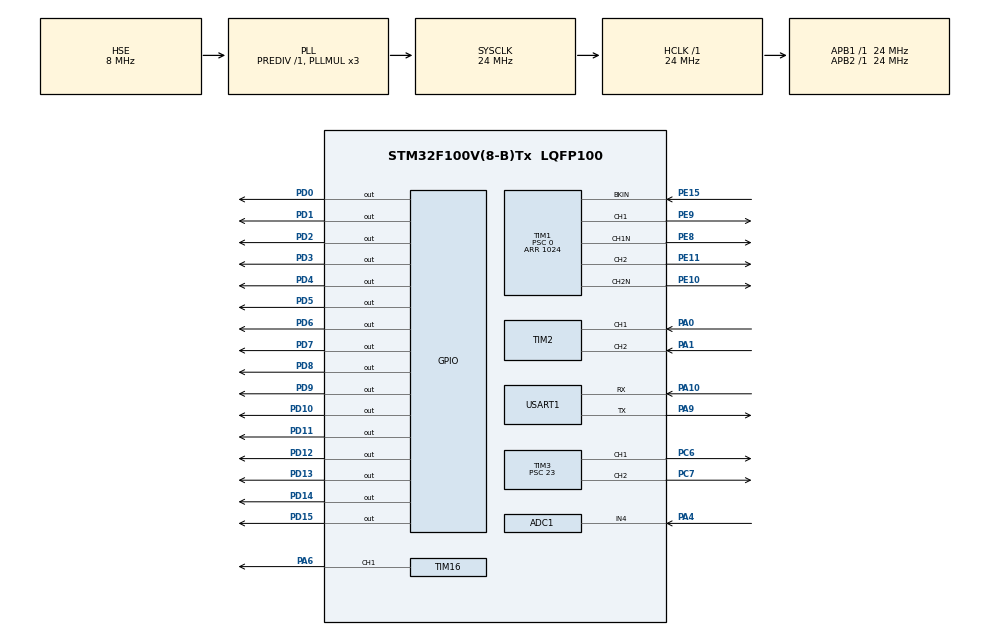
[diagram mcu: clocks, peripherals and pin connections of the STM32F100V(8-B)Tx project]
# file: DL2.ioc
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ADC1.Channel-0\#ChannelRegularConversion=ADC_CHANNEL_4
ADC1.NbrOfConversionFlag=1
ADC1.Rank-0\#ChannelRegularConversion=1
ADC1.SamplingTime-0\#ChannelRegularConversion=ADC_SAMPLETIME_1CYCLE_5
ADC1.master=1
Mcu.Family=STM32F1
Mcu.Name=STM32F100V(8-B)Tx
Mcu.Package=LQFP100
NVIC.PriorityGroup=NVIC_PRIORITYGROUP_4
NVIC.TIM6_DAC_IRQn=true\:0\:0\:false\:false\:true\:true\:true\:true
NVIC.USART1_IRQn=true\:0\:0\:false\:false\:true\:true\:true\:true
OSC_IN.Mode=HSE-External-Oscillator
OSC_IN.Signal=RCC_OSC_IN
OSC_OUT.Mode=HSE-External-Oscillator
OSC_OUT.Signal=RCC_OSC_OUT
PA0-WKUP.Signal=S_TIM2_CH1_ETR
PA1.Signal=S_TIM2_CH2
PA10.Mode=Asynchronous
PA10.Signal=USART1_RX
PA13.Mode=Serial_Wire
PA13.Signal=SYS_JTMS-SWDIO
PA14.Mode=Serial_Wire
PA14.Signal=SYS_JTCK-SWCLK
PA4.Signal=ADCx_IN4
PA6.Signal=S_TIM16_CH1
PA9.Mode=Asynchronous
PA9.Signal=USART1_TX
PC6.Signal=S_TIM3_CH1
PC7.Signal=S_TIM3_CH2
PD0.Signal=GPIO_Output
PD1.Signal=GPIO_Output
PD10.Signal=GPIO_Output
PD11.Signal=GPIO_Output
PD12.Signal=GPIO_Output
PD13.Signal=GPIO_Output
PD14.Signal=GPIO_Output
PD15.Signal=GPIO_Output
PD2.Signal=GPIO_Output
PD3.Signal=GPIO_Output
PD4.Signal=GPIO_Output
PD5.Signal=GPIO_Output
PD6.Signal=GPIO_Output
PD7.Signal=GPIO_Output
PD8.Signal=GPIO_Output
PD9.Signal=GPIO_Output
PE10.Mode=PWM Generation2 CH2 CH2N
PE10.Signal=TIM1_CH2N
PE11.Signal=S_TIM1_CH2
PE15.Mode=Activate-Break-Input
PE15.Signal=TIM1_BKIN
PE8.Mode=PWM Generation1 CH1 CH1N
PE8.Signal=TIM1_CH1N
PE9.Signal=S_TIM1_CH1
ProjectManager.HeapSize=0x200
ProjectManager.StackSize=0x400
ProjectManager.TargetToolchain=MDK-ARM V5.32
RCC.AHBFreq_Value=24000000
RCC.APB1Freq_Value=24000000
RCC.APB1TimFreq_Value=24000000
RCC.APB2Freq_Value=24000000
RCC.APB2TimFreq_Value=24000000
RCC.HCLKFreq_Value=24000000
RCC.PLLMUL=RCC_PLL_MUL3
RCC.PLLSource=RCC_PLLSOURCE_HSE
RCC.SYSCLKFreq_VALUE=24000000
RCC.SYSCLKSource=RCC_SYSCLKSOURCE_PLLCLK
SH.ADCx_IN4.0=ADC1_IN4,IN4
SH.S_TIM16_CH1.0=TIM16_CH1,PWM Generation1 CH1
SH.S_TIM1_CH1.0=TIM1_CH1,PWM Generation1 CH1 CH1N
SH.S_TIM1_CH2.0=TIM1_CH2,PWM Generation2 CH2 CH2N
SH.S_TIM2_CH1_ETR.0=TIM2_CH1,Encoder_Interface
SH.S_TIM2_CH2.0=TIM2_CH2,Encoder_Interface
SH.S_TIM3_CH1.0=TIM3_CH1,PWM Generation1 CH1
SH.S_TIM3_CH2.0=TIM3_CH2,PWM Generation2 CH2
TIM1.AutomaticOutput=TIM_AUTOMATICOUTPUT_ENABLE
TIM1.Channel-PWM\ Generation1\ CH1\ CH1N=TIM_CHANNEL_1
TIM1.Channel-PWM\ Generation2\ CH2\ CH2N=TIM_CHANNEL_2
TIM1.DeadTime=14
TIM1.OCMode_PWM-PWM\ Generation1\ CH1\ CH1N=TIM_OCMODE_PWM2
TIM1.OCMode_PWM-PWM\ Generation2\ CH2\ CH2N=TIM_OCMODE_PWM1
TIM1.OCNPolarity_2=TIM_OCNPOLARITY_LOW
TIM1.OCPolarity_2=TIM_OCPOLARITY_LOW
TIM1.Period=1024
TIM1.Prescaler=0
TIM16.Channel=TIM_CHANNEL_1
TIM16.Period=249
TIM16.Prescaler=23
TIM16.Pulse=125
TIM3.Channel-PWM\ Generation1\ CH1=TIM_CHANNEL_1
TIM3.Channel-PWM\ Generation2\ CH2=TIM_CHANNEL_2
TIM3.Period=19999
TIM3.Prescaler=23
TIM6.Period=999
TIM6.Prescaler=23
USART1.VirtualMode=VM_ASYNC
VP_TIM16_VS_ClockSourceINT.Mode=Enable_Timer
VP_TIM6_VS_ClockSourceINT.Mode=Enable_Timer
board=custom

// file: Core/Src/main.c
/* USER CODE BEGIN Header */
/**
  ******************************************************************************
  * @file           : main.c
  * @brief          : Main program body
  ******************************************************************************
  * @attention
  *
  * Copyright (c) 2026 STMicroelectronics.
  * All rights reserved.
  *
  * This software is licensed under terms that can be found in the LICENSE file
  * in the root directory of this software component.
  * If no LICENSE file comes with this software, it is provided AS-IS.
  *
  ******************************************************************************
  */
/* USER CODE END Header */
#include "main.h"
#include "adc.h"
#include "tim.h"
#include "usart.h"
#include "gpio.h"

void SystemClock_Config(void);

int main(void)

{

  /* MCU Configuration--------------------------------------------------------*/

  /* Reset of all peripherals, Initializes the Flash interface and the Systick. */
  HAL_Init();

  /* Configure the system clock */
  SystemClock_Config();

  /* Initialize all configured peripherals */
  MX_GPIO_Init();
  MX_TIM1_Init();
  MX_TIM2_Init();
  MX_TIM3_Init();
  MX_TIM16_Init();
  MX_USART1_UART_Init();
  MX_TIM6_Init();
  MX_ADC1_Init();
  /* USER CODE BEGIN 2 */
HAL_GPIO_WritePin(GPIOD,GPIO_PIN_15,0);
HAL_TIM_PWM_Start(&htim16,TIM_CHANNEL_1);//Init buzzer
HAL_TIM_PWM_Start(&htim1,TIM_CHANNEL_1);//Init Motor Control timer
HAL_TIM_PWM_Start(&htim1,TIM_CHANNEL_2);
TIM_CCxChannelCmd(TIM1,TIM_CHANNEL_1,TIM_CCx_ENABLE|TIM_CCxN_ENABLE);
TIM_CCxChannelCmd(TIM1,TIM_CHANNEL_2,TIM_CCx_ENABLE|TIM_CCxN_ENABLE);
__HAL_TIM_SET_COMPARE(&htim1,TIM_CHANNEL_1,1000);
__HAL_TIM_SET_COMPARE(&htim1,TIM_CHANNEL_2,1000);
HAL_TIM_PWM_Start(&htim3,TIM_CHANNEL_1);//Servo 1
HAL_TIM_PWM_Start(&htim3,TIM_CHANNEL_2);//Servo 2
__HAL_TIM_SET_COMPARE(&htim3,TIM_CHANNEL_1,1000);
__HAL_TIM_SET_COMPARE(&htim3,TIM_CHANNEL_2,1000);
__HAL_TIM_SET_COMPARE(&htim16,TIM_CHANNEL_1,0);
HAL_GPIO_WritePin(GPIOD,GPIO_PIN_15,1);
HAL_TIM_Encoder_Start(&htim2,TIM_CHANNEL_1|TIM_CHANNEL_2);
HAL_TIM_Base_Start_IT(&htim6);
Serial_RxStart();
  /* USER CODE END 2 */

  /* Infinite loop */
  while (1)
  {

    /* USER CODE BEGIN 3 */
	/*	HAL_GPIO_WritePin(GPIOD,GPIO_PIN_8,1);
		HAL_GPIO_WritePin(GPIOD,GPIO_PIN_9,1);
		HAL_GPIO_WritePin(GPIOD,GPIO_PIN_10,1);
		HAL_GPIO_WritePin(GPIOD,GPIO_PIN_11,1);
		HAL_GPIO_WritePin(GPIOD,GPIO_PIN_12,1);
		HAL_GPIO_WritePin(GPIOD,GPIO_PIN_13,1);
		HAL_GPIO_WritePin(GPIOD,GPIO_PIN_14,1);
		HAL_GPIO_WritePin(GPIOD,GPIO_PIN_14,1);*/
  }
  /* USER CODE END 3 */
}

void SystemClock_Config(void)
{
  RCC_OscInitTypeDef RCC_OscInitStruct = {0};
  RCC_ClkInitTypeDef RCC_ClkInitStruct = {0};
  RCC_PeriphCLKInitTypeDef PeriphClkInit = {0};

  /** Initializes the RCC Oscillators according to the specified parameters
  * in the RCC_OscInitTypeDef structure.
  */
  RCC_OscInitStruct.OscillatorType = RCC_OSCILLATORTYPE_HSE;
  RCC_OscInitStruct.HSEState = RCC_HSE_ON;
  RCC_OscInitStruct.HSEPredivValue = RCC_HSE_PREDIV_DIV1;
  RCC_OscInitStruct.PLL.PLLState = RCC_PLL_ON;
  RCC_OscInitStruct.PLL.PLLSource = RCC_PLLSOURCE_HSE;
  RCC_OscInitStruct.PLL.PLLMUL = RCC_PLL_MUL3;
  if (HAL_RCC_OscConfig(&RCC_OscInitStruct) != HAL_OK)
  {
    Error_Handler();
  }

  /** Initializes the CPU, AHB and APB buses clocks
  */
  RCC_ClkInitStruct.ClockType = RCC_CLOCKTYPE_HCLK|RCC_CLOCKTYPE_SYSCLK
                              |RCC_CLOCKTYPE_PCLK1|RCC_CLOCKTYPE_PCLK2;
  RCC_ClkInitStruct.SYSCLKSource = RCC_SYSCLKSOURCE_PLLCLK;
  RCC_ClkInitStruct.AHBCLKDivider = RCC_SYSCLK_DIV1;
  RCC_ClkInitStruct.APB1CLKDivider = RCC_HCLK_DIV1;
  RCC_ClkInitStruct.APB2CLKDivider = RCC_HCLK_DIV1;

  if (HAL_RCC_ClockConfig(&RCC_ClkInitStruct, FLASH_LATENCY_0) != HAL_OK)
  {
    Error_Handler();
  }
  PeriphClkInit.PeriphClockSelection = RCC_PERIPHCLK_ADC;
  PeriphClkInit.AdcClockSelection = RCC_ADCPCLK2_DIV2;
  if (HAL_RCCEx_PeriphCLKConfig(&PeriphClkInit) != HAL_OK)
  {
    Error_Handler();
  }
}

void Error_Handler(void)
{
  __disable_irq();
  while (1)
  {
  }
}
